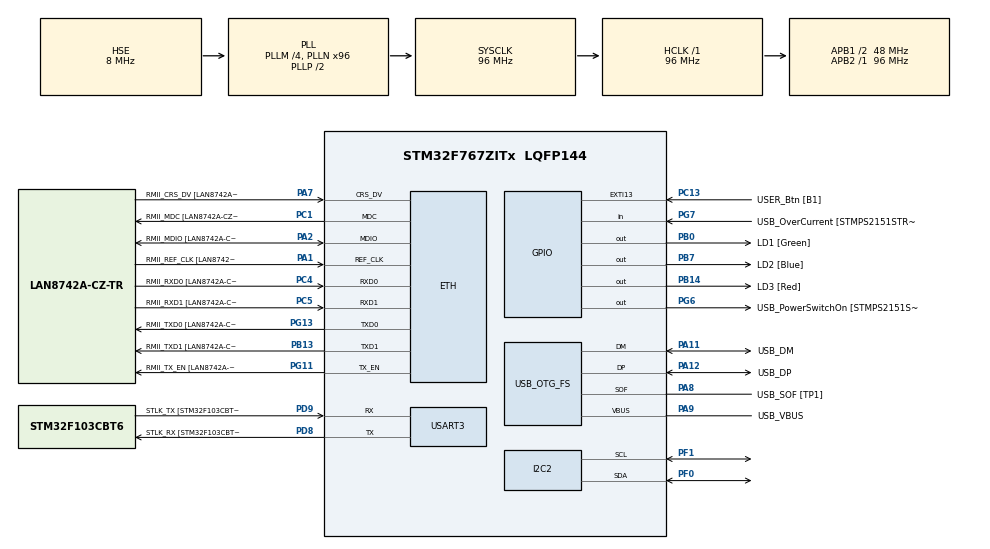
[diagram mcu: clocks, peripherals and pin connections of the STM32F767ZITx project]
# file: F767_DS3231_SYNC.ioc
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CORTEX_M7.default_mode_Activation=1
ETH.MediaInterface=HAL_ETH_RMII_MODE
ETH.PHY_Name=LAN8742A_PHY_ADDRESS
ETH.PHY_Value=0
ETH.PhyAddress=0
I2C2.Timing=0x20303E5D
Mcu.Family=STM32F7
Mcu.Name=STM32F767ZITx
Mcu.Package=LQFP144
NVIC.PriorityGroup=NVIC_PRIORITYGROUP_4
PA1.GPIO_Label=RMII_REF_CLK [LAN8742A-CZ-TR_REFCLK0]
PA1.Mode=RMII
PA1.Signal=ETH_REF_CLK
PA10.GPIO_Label=USB_ID
PA10.Signal=USB_OTG_FS_ID
PA11.GPIO_Label=USB_DM
PA11.Mode=Device_Only
PA11.Signal=USB_OTG_FS_DM
PA12.GPIO_Label=USB_DP
PA12.Mode=Device_Only
PA12.Signal=USB_OTG_FS_DP
PA13.GPIO_Label=TMS
PA13.Mode=Serial_Wire
PA13.Signal=SYS_JTMS-SWDIO
PA14.GPIO_Label=TCK
PA14.Mode=Serial_Wire
PA14.Signal=SYS_JTCK-SWCLK
PA2.GPIO_Label=RMII_MDIO [LAN8742A-CZ-TR_MDIO]
PA2.Mode=RMII
PA2.Signal=ETH_MDIO
PA7.GPIO_Label=RMII_CRS_DV [LAN8742A-CZ-TR_CRS_DV]
PA7.Mode=RMII
PA7.Signal=ETH_CRS_DV
PA8.GPIO_Label=USB_SOF [TP1]
PA8.Mode=Activate_SOF_FS
PA8.Signal=USB_OTG_FS_SOF
PA9.GPIO_Label=USB_VBUS
PA9.Mode=Activate_VBUS
PA9.Signal=USB_OTG_FS_VBUS
PB0.GPIO_Label=LD1 [Green]
PB0.Signal=GPIO_Output
PB13.GPIO_Label=RMII_TXD1 [LAN8742A-CZ-TR_TXD1]
PB13.Mode=RMII
PB13.Signal=ETH_TXD1
PB14.GPIO_Label=LD3 [Red]
PB14.Signal=GPIO_Output
PB3.GPIO_Label=SWO
PB3.Signal=SYS_JTDO-SWO
PB7.GPIO_Label=LD2 [Blue]
PB7.Signal=GPIO_Output
PC1.GPIO_Label=RMII_MDC [LAN8742A-CZ-TR_MDC]
PC1.Mode=RMII
PC1.Signal=ETH_MDC
PC13.GPIO_Label=USER_Btn [B1]
PC13.Signal=GPXTI13
PC14/OSC32_IN.Mode=LSE-External-Oscillator
PC14/OSC32_IN.Signal=RCC_OSC32_IN
PC15/OSC32_OUT.Mode=LSE-External-Oscillator
PC15/OSC32_OUT.Signal=RCC_OSC32_OUT
PC4.GPIO_Label=RMII_RXD0 [LAN8742A-CZ-TR_RXD0]
PC4.Mode=RMII
PC4.Signal=ETH_RXD0
PC5.GPIO_Label=RMII_RXD1 [LAN8742A-CZ-TR_RXD1]
PC5.Mode=RMII
PC5.Signal=ETH_RXD1
PD8.GPIO_Label=STLK_RX [STM32F103CBT6_PA3]
PD8.Mode=Asynchronous
PD8.Signal=USART3_TX
PD9.GPIO_Label=STLK_TX [STM32F103CBT6_PA2]
PD9.Mode=Asynchronous
PD9.Signal=USART3_RX
PF0.Mode=I2C
PF0.Signal=I2C2_SDA
PF1.Mode=I2C
PF1.Signal=I2C2_SCL
PG11.GPIO_Label=RMII_TX_EN [LAN8742A-CZ-TR_TXEN]
PG11.Mode=RMII
PG11.Signal=ETH_TX_EN
PG13.GPIO_Label=RMII_TXD0 [LAN8742A-CZ-TR_TXD0]
PG13.Mode=RMII
PG13.Signal=ETH_TXD0
PG6.GPIO_Label=USB_PowerSwitchOn [STMPS2151STR_EN]
PG6.Signal=GPIO_Output
PG7.GPIO_Label=USB_OverCurrent [STMPS2151STR_FAULT]
PG7.Signal=GPIO_Input
PH0/OSC_IN.GPIO_Label=MCO [STM32F103CBT6_PA8]
PH0/OSC_IN.Mode=HSE-External-Clock-Source
PH0/OSC_IN.Signal=RCC_OSC_IN
PH1/OSC_OUT.Mode=HSE-External-Clock-Source
PH1/OSC_OUT.Signal=RCC_OSC_OUT
ProjectManager.HeapSize=0x200
ProjectManager.StackSize=0x400
ProjectManager.TargetToolchain=STM32CubeIDE
RCC.48MHZClocksFreq_Value=24000000
RCC.AHBFreq_Value=96000000
RCC.APB1CLKDivider=RCC_HCLK_DIV2
RCC.APB1Freq_Value=48000000
RCC.APB1TimFreq_Value=96000000
RCC.APB2Freq_Value=96000000
RCC.APB2TimFreq_Value=96000000
RCC.CortexFreq_Value=96000000
RCC.HCLKFreq_Value=96000000
RCC.HSE_VALUE=8000000
RCC.HSI_VALUE=16000000
RCC.PLLM=4
RCC.PLLMUL=RCC_PLL_MUL9
RCC.PLLN=96
RCC.PLLQ=4
RCC.PRESCALERUSB=RCC_USBCLKSOURCE_PLL_DIV1_5
RCC.SYSCLKFreq_VALUE=96000000
RCC.SYSCLKSource=RCC_SYSCLKSOURCE_PLLCLK
RCC.SYSCLKSourceVirtual=RCC_SYSCLKSOURCE_PLLCLK
RCC.USBFreq_Value=48000000
RCC.VCOOutputFreq_Value=192000000
USART3.VirtualMode-Asynchronous=VM_ASYNC
USB_OTG_FS.VirtualMode=Device_Only
board=NUCLEO-F767ZI

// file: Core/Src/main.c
/* USER CODE BEGIN Header */
/* F767_DS3231_SYNC */
/**
  ******************************************************************************
  * @file           : main.c
  * @brief          : Main program body
  ******************************************************************************
  * @attention
  *
  * Copyright (c) 2026 STMicroelectronics.
  * All rights reserved.
  *
  * This software is licensed under terms that can be found in the LICENSE file
  * in the root directory of this software component.
  * If no LICENSE file comes with this software, it is provided AS-IS.
  *
  ******************************************************************************
  */
/* USER CODE END Header */
#include "main.h"
#include "string.h"

/* USER CODE BEGIN Includes */
#include "ds3231.h"
#include <stdio.h>
#include <string.h>
#include <stdlib.h>
#include <stdint.h>
/* USER CODE END Includes */

#if defined ( __ICCARM__ ) /*!< IAR Compiler */
#pragma location=0x2007c000
ETH_DMADescTypeDef  DMARxDscrTab[ETH_RX_DESC_CNT]; /* Ethernet Rx DMA Descriptors */
#pragma location=0x2007c0a0
ETH_DMADescTypeDef  DMATxDscrTab[ETH_TX_DESC_CNT]; /* Ethernet Tx DMA Descriptors */

#elif defined ( __CC_ARM )  /* MDK ARM Compiler */

__attribute__((at(0x2007c000))) ETH_DMADescTypeDef  DMARxDscrTab[ETH_RX_DESC_CNT]; /* Ethernet Rx DMA Descriptors */
__attribute__((at(0x2007c0a0))) ETH_DMADescTypeDef  DMATxDscrTab[ETH_TX_DESC_CNT]; /* Ethernet Tx DMA Descriptors */

#elif defined ( __GNUC__ ) /* GNU Compiler */

ETH_DMADescTypeDef DMARxDscrTab[ETH_RX_DESC_CNT] __attribute__((section(".RxDecripSection"))); /* Ethernet Rx DMA Descriptors */
ETH_DMADescTypeDef DMATxDscrTab[ETH_TX_DESC_CNT] __attribute__((section(".TxDecripSection")));   /* Ethernet Tx DMA Descriptors */
#endif

ETH_TxPacketConfig TxConfig;

ETH_HandleTypeDef heth;

I2C_HandleTypeDef hi2c2;

UART_HandleTypeDef huart3;

PCD_HandleTypeDef hpcd_USB_OTG_FS;

/* USER CODE BEGIN PV */
#define UART_RX_BUFFER_SIZE       64U

static char uartRxBuffer[UART_RX_BUFFER_SIZE];
/* USER CODE END PV */

void SystemClock_Config(void);
static void MPU_Config(void);
static void MX_GPIO_Init(void);
static void MX_ETH_Init(void);
static void MX_I2C2_Init(void);
static void MX_USART3_UART_Init(void);
static void MX_USB_OTG_FS_PCD_Init(void);
/* USER CODE BEGIN PFP */
static void UART_SendString(const char *text);
static HAL_StatusTypeDef UART_ReceiveLine(char *buffer, uint16_t bufferSize);
static void ProcessTimeString(const char *timeString);
/* USER CODE END PFP */

int main(void)
{

  /* MPU Configuration--------------------------------------------------------*/
  MPU_Config();

  /* MCU Configuration--------------------------------------------------------*/

  /* Reset of all peripherals, Initializes the Flash interface and the Systick. */
  HAL_Init();

  /* Configure the system clock */
  SystemClock_Config();

  /* Initialize all configured peripherals */
  MX_GPIO_Init();
  MX_ETH_Init();
  MX_I2C2_Init();
  MX_USART3_UART_Init();
  MX_USB_OTG_FS_PCD_Init();
  /* USER CODE BEGIN 2 */
  HAL_StatusTypeDef status;
  char msg[50];
  status = DS3231_IsReady(&hi2c2);

  sprintf(msg, "RTC Ready=%d\r\n", status);
  UART_SendString(msg);

  UART_SendString("\r\nDS3231 SYNC\r\n");

  if (DS3231_IsReady(&hi2c2) == HAL_OK)
  {
    UART_SendString("DS3231 READY\r\n");
  } // end if DS3231_IsReady
  else
  {
    UART_SendString("DS3231 NOT FOUND\r\n");
  } // end else

  UART_SendString("Send time format:\r\nYYYY,MM,DD,HH,MM,SS\r\nExample:\r\n2026,07,15,11,00,40\r\n\r\n");
  /* USER CODE END 2 */

  /* Infinite loop */
  /* USER CODE BEGIN WHILE */
  while (1)
  {
    UART_SendString("Waiting for time...\r\n");

    memset(uartRxBuffer, 0 , sizeof(uartRxBuffer));

    if (UART_ReceiveLine(uartRxBuffer, sizeof(uartRxBuffer)) == HAL_OK)
    {
      ProcessTimeString(uartRxBuffer);
    } // end if receiveLine OK
    else
    {
      UART_SendString("ERROR,UART_RECEIVE\r\n");
    } // end else

    /* USER CODE END WHILE */

  }
}

void SystemClock_Config(void)
{
  RCC_OscInitTypeDef RCC_OscInitStruct = {0};
  RCC_ClkInitTypeDef RCC_ClkInitStruct = {0};

  /** Configure LSE Drive Capability
  */
  HAL_PWR_EnableBkUpAccess();

  /** Configure the main internal regulator output voltage
  */
  __HAL_RCC_PWR_CLK_ENABLE();
  __HAL_PWR_VOLTAGESCALING_CONFIG(PWR_REGULATOR_VOLTAGE_SCALE3);

  /** Initializes the RCC Oscillators according to the specified parameters
  * in the RCC_OscInitTypeDef structure.
  */
  RCC_OscInitStruct.OscillatorType = RCC_OSCILLATORTYPE_HSE;
  RCC_OscInitStruct.HSEState = RCC_HSE_BYPASS;
  RCC_OscInitStruct.PLL.PLLState = RCC_PLL_ON;
  RCC_OscInitStruct.PLL.PLLSource = RCC_PLLSOURCE_HSE;
  RCC_OscInitStruct.PLL.PLLM = 4;
  RCC_OscInitStruct.PLL.PLLN = 96;
  RCC_OscInitStruct.PLL.PLLP = RCC_PLLP_DIV2;
  RCC_OscInitStruct.PLL.PLLQ = 4;
  RCC_OscInitStruct.PLL.PLLR = 2;
  if (HAL_RCC_OscConfig(&RCC_OscInitStruct) != HAL_OK)
  {
    Error_Handler();
  }

  /** Activate the Over-Drive mode
  */
  if (HAL_PWREx_EnableOverDrive() != HAL_OK)
  {
    Error_Handler();
  }

  /** Initializes the CPU, AHB and APB buses clocks
  */
  RCC_ClkInitStruct.ClockType = RCC_CLOCKTYPE_HCLK|RCC_CLOCKTYPE_SYSCLK
                              |RCC_CLOCKTYPE_PCLK1|RCC_CLOCKTYPE_PCLK2;
  RCC_ClkInitStruct.SYSCLKSource = RCC_SYSCLKSOURCE_PLLCLK;
  RCC_ClkInitStruct.AHBCLKDivider = RCC_SYSCLK_DIV1;
  RCC_ClkInitStruct.APB1CLKDivider = RCC_HCLK_DIV2;
  RCC_ClkInitStruct.APB2CLKDivider = RCC_HCLK_DIV1;

  if (HAL_RCC_ClockConfig(&RCC_ClkInitStruct, FLASH_LATENCY_3) != HAL_OK)
  {
    Error_Handler();
  }
}

static void MX_ETH_Init(void)
{

   static uint8_t MACAddr[6];

  heth.Instance = ETH;
  MACAddr[0] = 0x00;
  MACAddr[1] = 0x80;
  MACAddr[2] = 0xE1;
  MACAddr[3] = 0x00;
  MACAddr[4] = 0x00;
  MACAddr[5] = 0x00;
  heth.Init.MACAddr = &MACAddr[0];
  heth.Init.MediaInterface = HAL_ETH_RMII_MODE;
  heth.Init.TxDesc = DMATxDscrTab;
  heth.Init.RxDesc = DMARxDscrTab;
  heth.Init.RxBuffLen = 1524;

  if (HAL_ETH_Init(&heth) != HAL_OK)
  {
    Error_Handler();
  }

  memset(&TxConfig, 0 , sizeof(ETH_TxPacketConfig));
  TxConfig.Attributes = ETH_TX_PACKETS_FEATURES_CSUM | ETH_TX_PACKETS_FEATURES_CRCPAD;
  TxConfig.ChecksumCtrl = ETH_CHECKSUM_IPHDR_PAYLOAD_INSERT_PHDR_CALC;
  TxConfig.CRCPadCtrl = ETH_CRC_PAD_INSERT;

}

static void MX_I2C2_Init(void)
{

  hi2c2.Instance = I2C2;
  hi2c2.Init.Timing = 0x20303E5D;
  hi2c2.Init.OwnAddress1 = 0;
  hi2c2.Init.AddressingMode = I2C_ADDRESSINGMODE_7BIT;
  hi2c2.Init.DualAddressMode = I2C_DUALADDRESS_DISABLE;
  hi2c2.Init.OwnAddress2 = 0;
  hi2c2.Init.OwnAddress2Masks = I2C_OA2_NOMASK;
  hi2c2.Init.GeneralCallMode = I2C_GENERALCALL_DISABLE;
  hi2c2.Init.NoStretchMode = I2C_NOSTRETCH_DISABLE;
  if (HAL_I2C_Init(&hi2c2) != HAL_OK)
  {
    Error_Handler();
  }

  /** Configure Analogue filter
  */
  if (HAL_I2CEx_ConfigAnalogFilter(&hi2c2, I2C_ANALOGFILTER_ENABLE) != HAL_OK)
  {
    Error_Handler();
  }

  /** Configure Digital filter
  */
  if (HAL_I2CEx_ConfigDigitalFilter(&hi2c2, 0) != HAL_OK)
  {
    Error_Handler();
  }

}

static void MX_USART3_UART_Init(void)
{

  huart3.Instance = USART3;
  huart3.Init.BaudRate = 115200;
  huart3.Init.WordLength = UART_WORDLENGTH_8B;
  huart3.Init.StopBits = UART_STOPBITS_1;
  huart3.Init.Parity = UART_PARITY_NONE;
  huart3.Init.Mode = UART_MODE_TX_RX;
  huart3.Init.HwFlowCtl = UART_HWCONTROL_NONE;
  huart3.Init.OverSampling = UART_OVERSAMPLING_16;
  huart3.Init.OneBitSampling = UART_ONE_BIT_SAMPLE_DISABLE;
  huart3.AdvancedInit.AdvFeatureInit = UART_ADVFEATURE_NO_INIT;
  if (HAL_UART_Init(&huart3) != HAL_OK)
  {
    Error_Handler();
  }

}

static void MX_USB_OTG_FS_PCD_Init(void)
{

  hpcd_USB_OTG_FS.Instance = USB_OTG_FS;
  hpcd_USB_OTG_FS.Init.dev_endpoints = 6;
  hpcd_USB_OTG_FS.Init.speed = PCD_SPEED_FULL;
  hpcd_USB_OTG_FS.Init.dma_enable = DISABLE;
  hpcd_USB_OTG_FS.Init.phy_itface = PCD_PHY_EMBEDDED;
  hpcd_USB_OTG_FS.Init.Sof_enable = ENABLE;
  hpcd_USB_OTG_FS.Init.low_power_enable = DISABLE;
  hpcd_USB_OTG_FS.Init.lpm_enable = DISABLE;
  hpcd_USB_OTG_FS.Init.vbus_sensing_enable = ENABLE;
  hpcd_USB_OTG_FS.Init.use_dedicated_ep1 = DISABLE;
  if (HAL_PCD_Init(&hpcd_USB_OTG_FS) != HAL_OK)
  {
    Error_Handler();
  }

}

static void MX_GPIO_Init(void)
{
  GPIO_InitTypeDef GPIO_InitStruct = {0};

  /* GPIO Ports Clock Enable */
  __HAL_RCC_GPIOC_CLK_ENABLE();
  __HAL_RCC_GPIOF_CLK_ENABLE();
  __HAL_RCC_GPIOH_CLK_ENABLE();
  __HAL_RCC_GPIOA_CLK_ENABLE();
  __HAL_RCC_GPIOB_CLK_ENABLE();
  __HAL_RCC_GPIOD_CLK_ENABLE();
  __HAL_RCC_GPIOG_CLK_ENABLE();

  /*Configure GPIO pin Output Level */
  HAL_GPIO_WritePin(GPIOB, LD1_Pin|LD3_Pin|LD2_Pin, GPIO_PIN_RESET);

  /*Configure GPIO pin Output Level */
  HAL_GPIO_WritePin(USB_PowerSwitchOn_GPIO_Port, USB_PowerSwitchOn_Pin, GPIO_PIN_RESET);

  /*Configure GPIO pin : USER_Btn_Pin */
  GPIO_InitStruct.Pin = USER_Btn_Pin;
  GPIO_InitStruct.Mode = GPIO_MODE_IT_RISING;
  GPIO_InitStruct.Pull = GPIO_NOPULL;
  HAL_GPIO_Init(USER_Btn_GPIO_Port, &GPIO_InitStruct);

  /*Configure GPIO pins : LD1_Pin LD3_Pin LD2_Pin */
  GPIO_InitStruct.Pin = LD1_Pin|LD3_Pin|LD2_Pin;
  GPIO_InitStruct.Mode = GPIO_MODE_OUTPUT_PP;
  GPIO_InitStruct.Pull = GPIO_NOPULL;
  GPIO_InitStruct.Speed = GPIO_SPEED_FREQ_LOW;
  HAL_GPIO_Init(GPIOB, &GPIO_InitStruct);

  /*Configure GPIO pin : USB_PowerSwitchOn_Pin */
  GPIO_InitStruct.Pin = USB_PowerSwitchOn_Pin;
  GPIO_InitStruct.Mode = GPIO_MODE_OUTPUT_PP;
  GPIO_InitStruct.Pull = GPIO_NOPULL;
  GPIO_InitStruct.Speed = GPIO_SPEED_FREQ_LOW;
  HAL_GPIO_Init(USB_PowerSwitchOn_GPIO_Port, &GPIO_InitStruct);

  /*Configure GPIO pin : USB_OverCurrent_Pin */
  GPIO_InitStruct.Pin = USB_OverCurrent_Pin;
  GPIO_InitStruct.Mode = GPIO_MODE_INPUT;
  GPIO_InitStruct.Pull = GPIO_NOPULL;
  HAL_GPIO_Init(USB_OverCurrent_GPIO_Port, &GPIO_InitStruct);

}

/* USER CODE BEGIN 4 */
static void UART_SendString(const char *text)
{
  if (text == NULL)
  {
    return;
  } // end if text is NULL

  HAL_UART_Transmit(&huart3, (uint8_t *)text, (uint16_t)strlen(text), 1000U);
} // end function UART_SendString

static HAL_StatusTypeDef UART_ReceiveLine(char *buffer, uint16_t bufferSize)
{
  uint8_t receiveByte;
  uint16_t index = 0U;
  HAL_StatusTypeDef status;

  if ((buffer == NULL) || (bufferSize < 2U))
  {
    return HAL_ERROR;
  } // end if buffer is NULL or too small

  while (1)
  {
    status = HAL_UART_Receive(&huart3, &receiveByte, 1U, HAL_MAX_DELAY);

    if (status != HAL_OK)
    {
      return status;
    } // end if receive not OK;

    if ((receiveByte == '\r') || (receiveByte == '\n'))
    {
      if (index > 0U)
      {
        buffer[index] = '\0';
        return HAL_OK;
      } // end if index > 0

      continue;
    } // end if receive line end with CR/LF

    if (index < (bufferSize - 1U))
    {
      buffer[index] = (char)receiveByte;
      index++;
    } // end if
    else
    {
      buffer[bufferSize - 1U] = '\0';
      return HAL_ERROR;
    } // end else
  } // end while
} // end function UART_ReceiveLine

static void ProcessTimeString(const char *timeString)
{
  int year, month, date, hour, minute, second;

  int parsedCount;

  DS3231_Datetime_t requestedTime;
  DS3231_Datetime_t readBackTime;

  char txBuffer[100];

  if (timeString == NULL)
  {
    UART_SendString("ERROR,NULL_STRING\r\n");
    return;
  } // end if timeString is Null

  parsedCount = sscanf(timeString, "%d,%d,%d,%d,%d,%d",&year, &month, &date, &hour, &minute, &second);

  if (parsedCount != 6)
  {
    UART_SendString("ERROR,FORMAT\r\nUse YYYY,MM,DD,HH,MM,SS\r\n");
    return;
  } // end if parsed count is not 6

  if (
    (year < 2000) || (year > 2099) ||
    (month < 1) || (month > 12) ||
    (date < 1) || (date > 31) ||
    (hour < 0) || (hour > 23) ||
    (minute < 0) || (minute > 59) ||
    (second < 0) || (second > 59))
  {
    UART_SendString("ERROR,INVALID_TIME\r\n");
    return;
  } // end if time is invalid

  requestedTime.year = (uint16_t)year;
  requestedTime.month = (uint8_t)month;
  requestedTime.date = (uint8_t)date;
  requestedTime.hour = (uint8_t)hour;
  requestedTime.minute = (uint8_t)minute;
  requestedTime.second = (uint8_t)second;

  requestedTime.day = DS3231_CalculateDay(requestedTime.year, requestedTime.month, requestedTime.date);

  HAL_StatusTypeDef status;
  status = DS3231_SetDateTime(&hi2c2, &requestedTime);

  char msg[50];
  sprintf(msg, "Write Status=%d\r\n", status);

UART_SendString(msg);

if(status != HAL_OK)
{
  UART_SendString("ERROR,RTC_WRITE\r\n");
  return;
}

  HAL_Delay(20U);

  // read time once write time
  if (DS3231_GetDataTime(&hi2c2, &readBackTime) != HAL_OK)
  {
    UART_SendString("ERROR,RTC_READ\r\n");
    return;
  } // end if read time not OK

  snprintf(txBuffer, sizeof(txBuffer), "SYNC OK,%04u-%02u-%02u %02u:%02u:%02u\r\n",
          readBackTime.year, readBackTime.month, readBackTime.date,
          readBackTime.hour, readBackTime.minute, readBackTime.second);

  UART_SendString(txBuffer);
} // end function ProcessTimeString
/* USER CODE END 4 */

 /* MPU Configuration */

void MPU_Config(void)
{
  MPU_Region_InitTypeDef MPU_InitStruct = {0};

  /* Disables the MPU */
  HAL_MPU_Disable();

  /** Initializes and configures the Region and the memory to be protected
  */
  MPU_InitStruct.Enable = MPU_REGION_ENABLE;
  MPU_InitStruct.Number = MPU_REGION_NUMBER0;
  MPU_InitStruct.BaseAddress = 0x0;
  MPU_InitStruct.Size = MPU_REGION_SIZE_4GB;
  MPU_InitStruct.SubRegionDisable = 0x87;
  MPU_InitStruct.TypeExtField = MPU_TEX_LEVEL0;
  MPU_InitStruct.AccessPermission = MPU_REGION_NO_ACCESS;
  MPU_InitStruct.DisableExec = MPU_INSTRUCTION_ACCESS_DISABLE;
  MPU_InitStruct.IsShareable = MPU_ACCESS_SHAREABLE;
  MPU_InitStruct.IsCacheable = MPU_ACCESS_NOT_CACHEABLE;
  MPU_InitStruct.IsBufferable = MPU_ACCESS_NOT_BUFFERABLE;

  HAL_MPU_ConfigRegion(&MPU_InitStruct);
  /* Enables the MPU */
  HAL_MPU_Enable(MPU_PRIVILEGED_DEFAULT);

}

void Error_Handler(void)
{
  __disable_irq();
  while (1)
  {
  }
}
